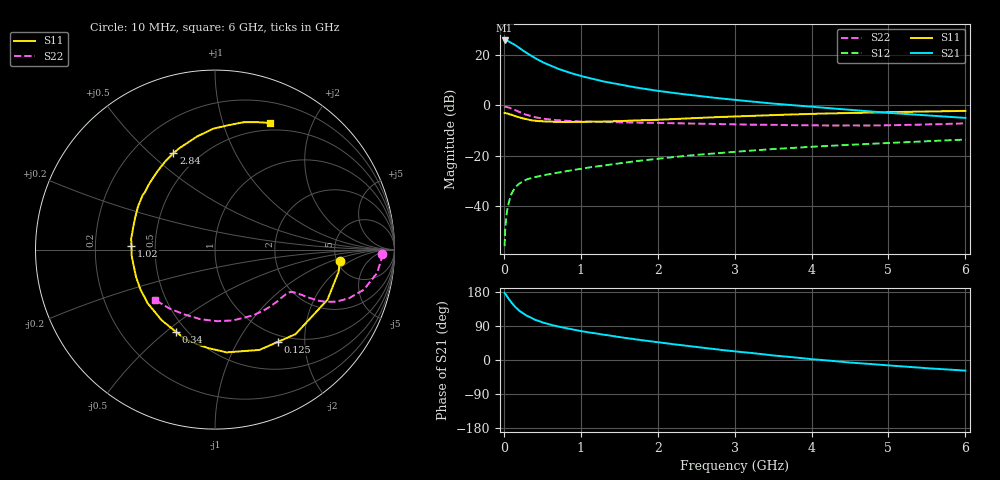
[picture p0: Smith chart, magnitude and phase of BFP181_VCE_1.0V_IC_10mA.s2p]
! Infineon Technologies  Discrete & RF Semiconductors
! BFP181
! VCE = 1.0 V,  IC =  10 mA
! Common Emitter S-Parameters:  Jan 2016
# GHz  S  MA  R  50
!  f  S11  S21  S12  S22
! GHz  MAG  ANG  MAG  ANG  MAG  ANG  MAG  ANG
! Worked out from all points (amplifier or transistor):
!   210 points, 10 MHz to 6 GHz, reference 50 ohm
!   highest |S21| = 25.7 dB at 10 MHz (marker M1)
!   |S21| within 3 dB of that: start of sweep to 202.9 MHz
!   unconditionally stable (mu >= 1): start of sweep to 11 MHz; 574.1 MHz to end of sweep
!   at 185 MHz: K = 0.43, MSG = 27.3 dB, |S12| = -31.5 dB
!   at 1.52 GHz: K = 1.56, MAG = 11.1 dB, |S12| = -23.0 dB
!   at 6 GHz: K = 1.33, MAG = 0.9 dB, |S12| = -13.7 dB
!   S11 on the Smith chart (normalised r, x): 10 MHz: 5.30, -1.28; 125 MHz: 0.89, -1.49; 340 MHz: 0.44, -0.54; 1.02 GHz: 0.36, +0.02; 2.84 GHz: 0.36, +0.59; 6 GHz: 0.42, +1.44
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0.01  0.6978 -5.1  19.17 177.0  0.0016 85.1  0.9322 -1.5
0.025  0.695 -12.4  19.05 172.8  0.0048 81.6  0.9259 -4.0
0.05  0.6862 -24.0  18.78 164.9  0.0096 78.5  0.9126 -8.1
0.1  0.6506 -46.4  17.14 151.3  0.0175 68.2  0.8599 -15.0
0.125  0.6217 -55.9  16.21 145.7  0.0205 63.4  0.826 -17.4
0.15  0.6113 -66.1  15.44 139.5  0.0236 59.8  0.7937 -20.0
0.2  0.5763 -83.5  13.67 130.1  0.0279 54.6  0.7332 -23.3
0.26  0.5409 -98.5  11.79 121.5  0.0314 49.7  0.6719 -25.5
0.3  0.5267 -108.2  10.74 116.6  0.0338 47.7  0.6395 -26.4
0.34  0.5068 -115.4  9.873 113.1  0.0352 46.6  0.6152 -26.7
0.4  0.4933 -127.0  8.651 106.6  0.0373 45.2  0.5787 -27.3
0.5  0.4796 -141.3  7.136 99.3  0.0405 43.3  0.5416 -27.6
0.6  0.4713 -151.9  6.134 93.5  0.043 43.5  0.5183 -28.0
0.8  0.4622 -169.0  4.696 84.1  0.0485 44.3  0.4905 -28.7
1.02  0.4658 177.3  3.724 75.8  0.0551 45.6  0.4731 -30.6
1.5  0.4826 155.4  2.573 60.5  0.0702 46.8  0.4561 -36.4
2.02  0.5155 136.2  1.905 46.5  0.0873 45.8  0.4435 -44.8
2.84  0.5844 113.4  1.349 26.3  0.1139 41.6  0.4218 -60.6
3.1  0.6045 107.4  1.23 20.9  0.122 40.0  0.4133 -66.3
4.1  0.678 89.3  0.905 0.6  0.1524 32.8  0.3967 -90.9
5.1  0.7318 76.0  0.688 -15.7  0.1811 25.3  0.4007 -117.6
6  0.77 66.5  0.559 -28.1  0.2077 17.7  0.4366 -140.2
